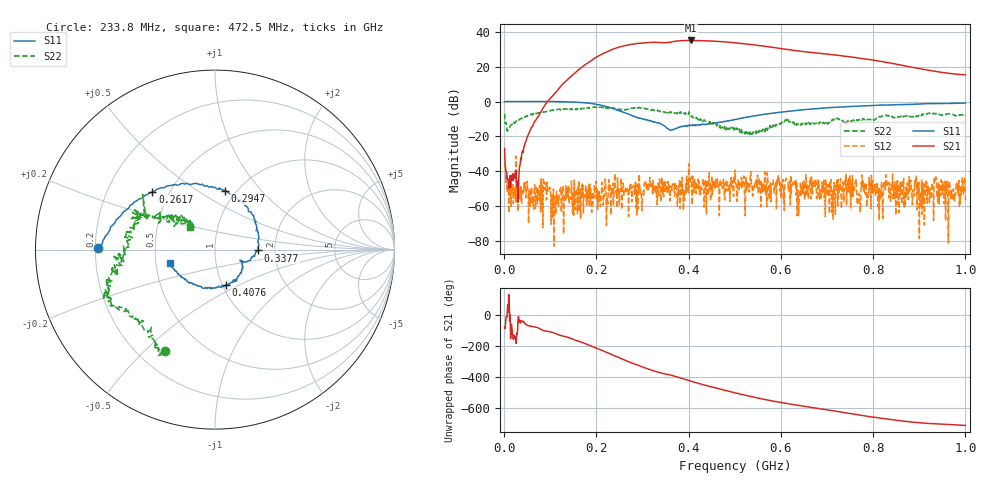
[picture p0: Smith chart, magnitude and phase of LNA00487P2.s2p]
! Created with skrf 1.9.0 (http://scikit-rf.org).
# Hz S RI R 50.0
!freq ReS11 ImS11 ReS21 ImS21 ReS12 ImS12 ReS22 ImS22
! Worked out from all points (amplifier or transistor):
!   1001 points, 1 MHz to 1 GHz, reference 50 ohm
!   highest |S21| = 34.9 dB at 404.6 MHz (marker M1)
!   |S21| within 3 dB of that: 262 MHz to 555.7 MHz (293.7 MHz wide, 71.8 % of centre)
!   unconditionally stable (mu >= 1): 240.4 MHz to 292.4 MHz; 293.2 MHz to 400.2 MHz; 401.1 MHz to end of sweep (the widest 3 of 42)
!   at 166.8 MHz: K = 2.20, MAG = 30.0 dB, |S12| = -53.1 dB
!   at 500.5 MHz: K = 1.14, MAG = 34.2 dB, |S12| = -39.2 dB
!   at 1 GHz: K = 8.21, MAG = 23.7 dB, |S12| = -56.3 dB
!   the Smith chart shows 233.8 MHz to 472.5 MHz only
!   S11 on the Smith chart (normalised r, x): 233.8 MHz: 0.21, +0.00; 261.7 MHz: 0.40, +0.33; 294.7 MHz: 0.89, +0.66; 337.7 MHz: 1.63, -0.02; 407.6 MHz: 1.04, -0.42; 472.5 MHz: 0.60, -0.10
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1000000  0.9781 0.00376  0.00778 -0.0448  -0.0146 0.00217  0.3528 0.2813
1.08892e8  0.5318 -0.8456  -0.7712 -1.476  0.000988 0.00146  0.4238 -0.38
1.67833e8  -0.2183 -0.908  -9.483 -0.6879  -0.00264 -0.000418  0.0254 -0.6273
2.06794e8  -0.6551 -0.4529  -15.63 13.99  0.000264 -0.00186  -0.1818 -0.6569
2.33767e8  -0.6492 0.00666  -7.06 29.77  -0.0018 0.00117  -0.2794 -0.5663
2.61739e8  -0.3486 0.3201  14.24 36.78  -0.00202 -0.00202  -0.4494 -0.3838
2.94706e8  0.0555 0.3276  39.91 24.1  -0.00178 0.00162  -0.613 -0.2358
3.14686e8  0.2034 0.2003  47.93 7.987  -0.00258 0.00267  -0.5856 -0.1487
3.34666e8  0.2426 0.0202  48.2 -8.025  -0.00106 0.00151  -0.5379 -0.0493
3.37663e8  0.2396 -0.00477  47.52 -10.01  -0.00218 0.00486  -0.5085 -0.0668
3.72628e8  0.1523 -0.0744  43.07 -31.8  -0.00304 0.000847  -0.432 0.1459
4.04596e8  0.0786 -0.1963  22.78 -50.92  -3.57e-05 0.00651  -0.3359 0.1792
4.07593e8  0.0605 -0.1954  20.54 -51.61  -0.000457 0.00101  -0.3461 0.1776
4.39561e8  -0.113 -0.1936  -4.517 -54.13  0.00498 0.0028  -0.2138 0.1654
4.72528e8  -0.2484 -0.0765  -25.63 -44.2  0.00323 0.00154  -0.1374 0.1237
5.005e8  -0.2937 0.08  -37.37 -30.2  0.00964 -0.00516  -0.1404 0.0589
5.38462e8  -0.2543 0.2841  -41.17 -9.557  0.000717 -0.00184  -0.1163 -0.0235
5.82418e8  -0.0855 0.4553  -34.37 8.365  0.00197 -0.00456  -0.1901 -0.0339
6.67333e8  0.3008 0.5314  -14.22 20.62  0.00236 -0.00288  -0.2344 0.0309
7.61239e8  0.6385 0.367  2.808 17.95  0.00496 0.00165  -0.2816 0.0691
8.34166e8  0.7827 0.1582  8.384 9.71  0.000497 -0.00168  -0.3753 0.0912
1e9  0.8232 -0.3766  5.747 0.9484  -0.00126 0.000865  -0.1629 0.3873
